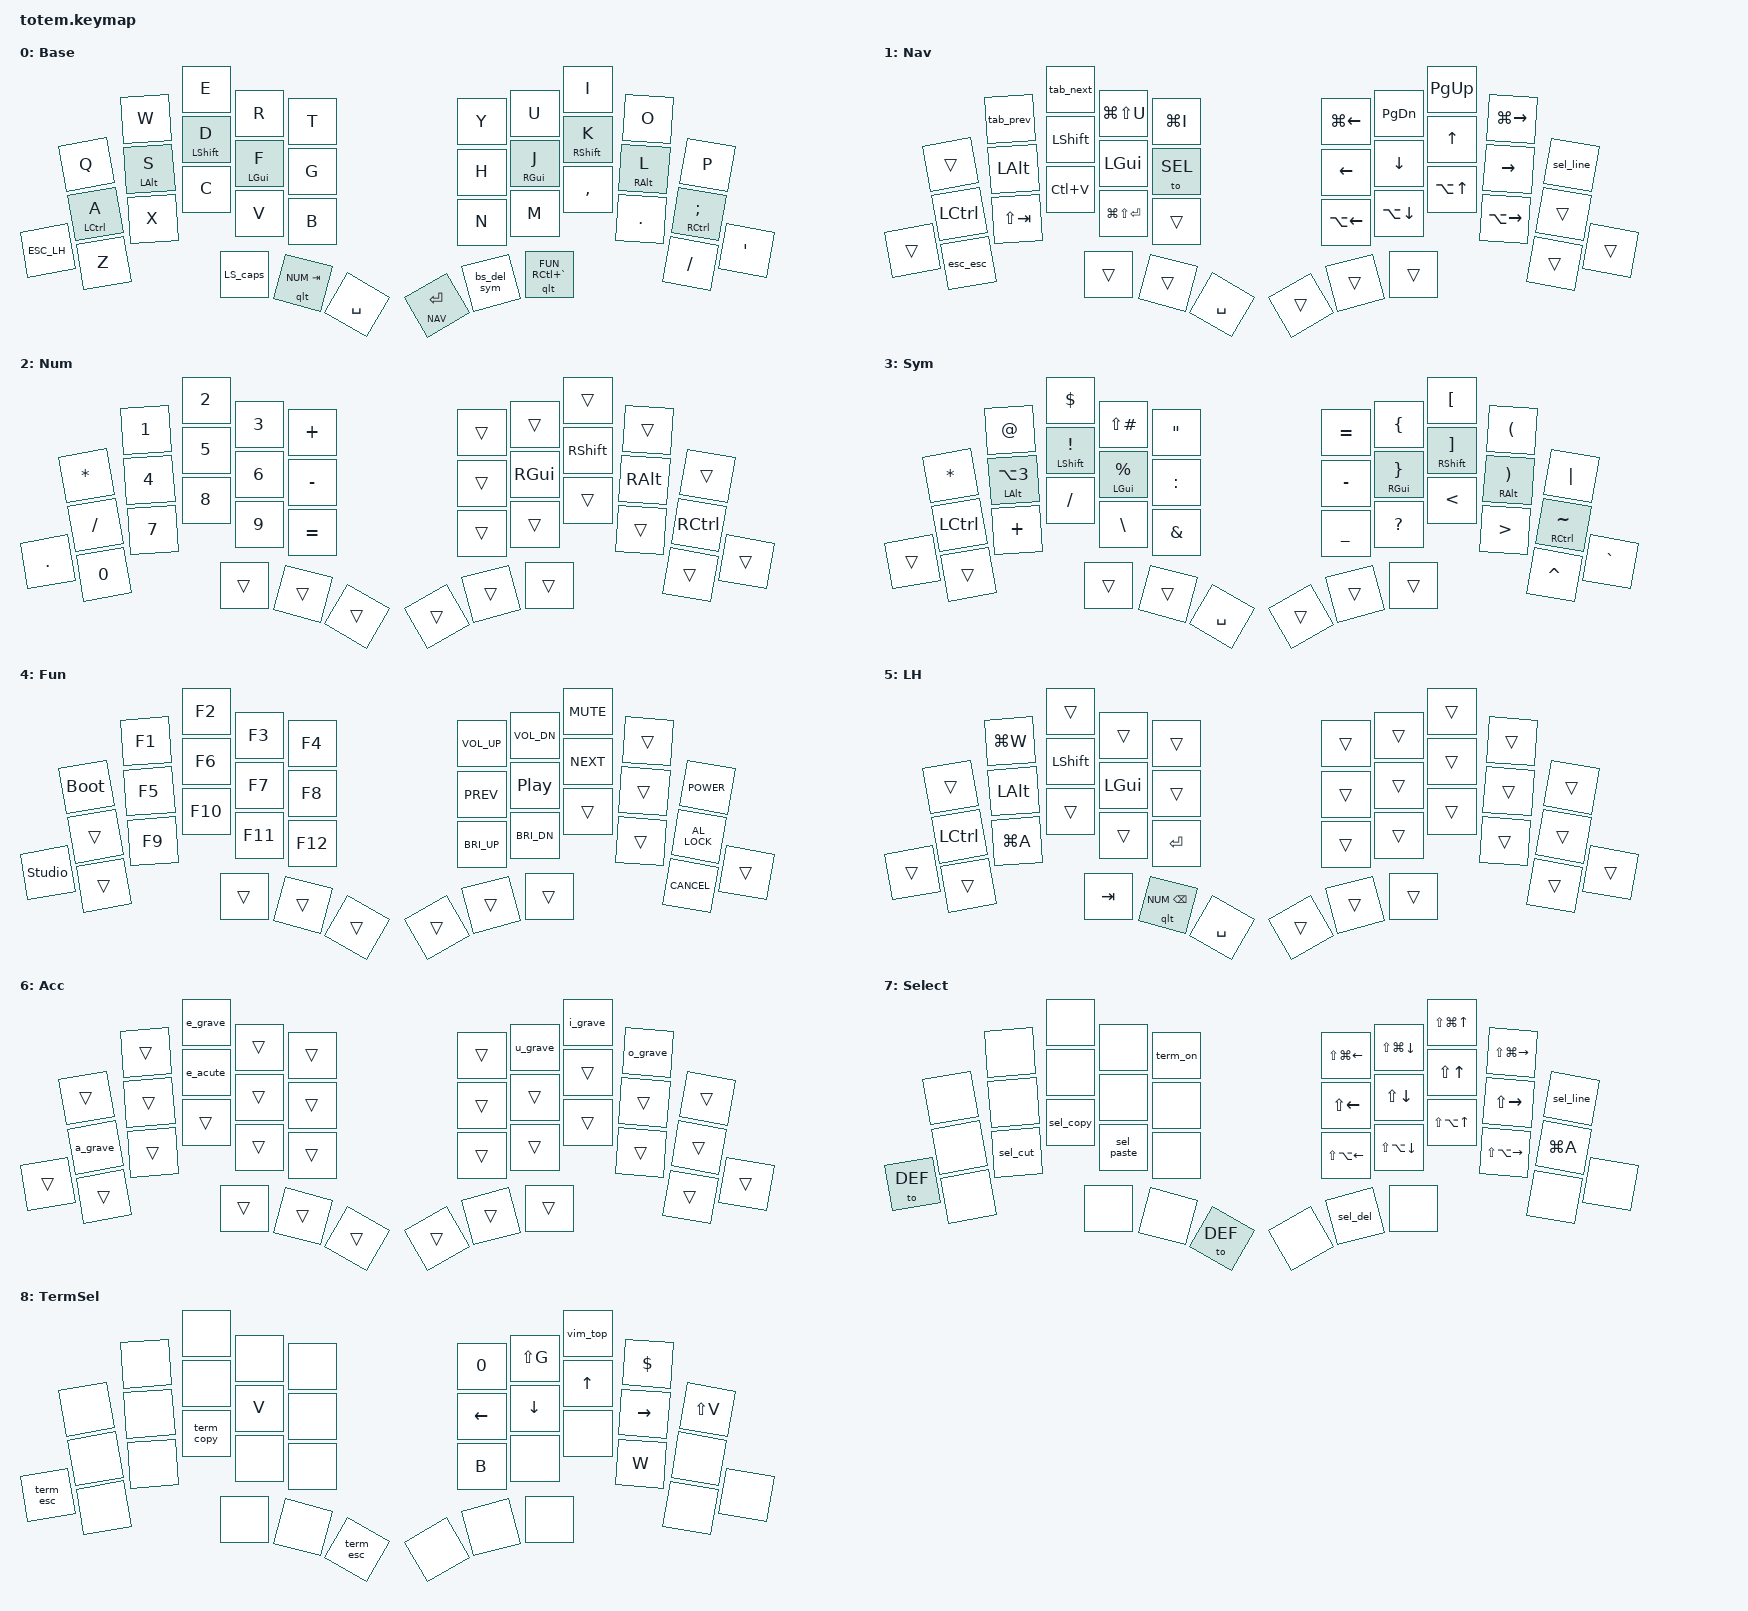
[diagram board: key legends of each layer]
//
//                                                        ▀▀▀▀▀     ▀▀▀▀▀          ▀▀█▀▀
//                                                        ▄▀▀▀▄  ▄  ▄▀▀▀▄  ▄  ▄▀▀▀▄  █  ▄▀▀▀▄
//                                                        █   █  █  █   █  █  █   █  █  █   █
//                                                         ▀▀▀   █   ▀▀▀   █   ▀▀▀   ▀   ▀▀▀
//                                                               █      ▄▄▄█▄▄▄    █   █
//                                                               ▀      █  █  █     █▄█
//                                                             ▀▀▀▀▀    █  █  █      ▀
//                                                                      ▀  ▀  ▀
//
// ▄▄▄▄▄▄▄▄▄▄▄▄▄▄▄▄▄▄▄▄▄▄▄▄▄▄▄▄▄▄▄▄▄▄▄▄▄▄▄▄▄▄▄▄▄▄▄▄▄▄▄▄▄▄▄▄▄▄▄▄▄▄▄▄▄▄▄▄▄▄▄▄▄▄▄▄▄▄▄▄▄▄▄▄▄▄▄▄▄▄▄▄▄▄▄▄▄▄▄▄▄▄▄▄▄▄▄▄▄▄▄▄▄▄▄▄▄▄▄▄▄▄▄▄▄▄▄▄▄▄▄▄▄▄▄▄▄▄▄▄▄▄▄▄▄▄▄▄▄



#define HOST_OS                    2
#define ZMK_HELPERS_KEEP_NATIVE    0

#include <behaviors.dtsi>
#include <behaviors/num_word.dtsi>
#include <dt-bindings/zmk/keys.h>
#include "zmk-helpers/helper.h"
#include "zmk-helpers/key-labels/totem.h"
// #include "zmk-helpers/unicode-chars/italian.dtsi"

#define ______ &trans
#define XXXXXX &none

#define DEF   0
#define NAV   1
#define NUM   2
#define SYM   3
#define FUN   4
#define LH    5
#define ACC   6
#define SEL   7
#define TSEL  8

/* Timing constants */

#define HOMEROW_TAP_MS    280
#define TDANCE_TAP_MS     200
#define QUICK_TAP_MS      175
#define PRIOR_IDLE_MS     150

/* Timeless homerow mods */
// https://github.com/urob/zmk-config/tree/main#timeless-homerow-mods

#define KEYS_L LT0 LT1 LT2 LT3 LT4 LM0 LM1 LM2 LM3 LM4 LB0 LB1 LB2 LB3 LB4 LB5  // left hand
#define KEYS_R RT0 RT1 RT2 RT3 RT4 RM0 RM1 RM2 RM3 RM4 RB0 RB1 RB2 RB3 RB4 RB5  // right hand
#define THUMBS LH0 LH1 LH2 RH0 RH1 RH2  // thumbs

ZMK_HOLD_TAP(hml,
    flavor = "balanced";
    tapping-term-ms = <HOMEROW_TAP_MS>;
    require-prior-idle-ms = <PRIOR_IDLE_MS>;
    hold-trigger-key-positions = <KEYS_R THUMBS>;
    hold-trigger-on-release;
    bindings = <&kp>, <&kp>;
)

ZMK_HOLD_TAP(hmr,
    flavor = "balanced";
    tapping-term-ms = <HOMEROW_TAP_MS>;
    require-prior-idle-ms = <PRIOR_IDLE_MS>;
    hold-trigger-key-positions = <KEYS_L THUMBS>;
    hold-trigger-on-release;
    bindings = <&kp>, < &kp >;
)

ZMK_HOLD_TAP(qlt,
    flavor = "balanced";
    tapping-term-ms = <175>;
    bindings = <&mo>, <&kp>;
    quick-tap-ms = <QUICK_TAP_MS>;
    display-name = "Quick Layer-Tap";
)

// tap: backspace | shift + tap: delete | hold: num layer
ZMK_MOD_MORPH(bs_del_sym,
    bindings = <&qlt SYM BSPC>, <&kp DEL>;
mods = <(MOD_LSFT | MOD_RSFT)>;
)

// tap: shift | double-tap: caps word
ZMK_TAP_DANCE(LS_caps,
    tapping-term-ms = <TDANCE_TAP_MS>;
    bindings = <&kp LSHIFT>, <&caps_word>;
)

// Accented vowels via macOS Option dead keys (Opt+` = grave, Opt+E = acute).
// Each key types the finished letter; with Shift held it types the capital.
#define ACCENT(name, dead, vowel) \
    ZMK_MACRO(name##_lo, wait-ms = <0>; tap-ms = <20>; bindings = <&kp dead>, <&kp vowel>;) \
    ZMK_MACRO(name##_up, wait-ms = <0>; tap-ms = <20>; bindings = <&kp dead>, <&kp LS(vowel)>;) \
    ZMK_MOD_MORPH(name, bindings = <&name##_lo>, <&name##_up>; mods = <(MOD_LSFT | MOD_RSFT)>;)

ACCENT(a_grave, LA(GRAVE), A)  // à À
ACCENT(e_grave, LA(GRAVE), E)  // è È
ACCENT(e_acute, LA(E),     E)  // é É
ACCENT(i_grave, LA(GRAVE), I)  // ì Ì
ACCENT(o_grave, LA(GRAVE), O)  // ò Ò
ACCENT(u_grave, LA(GRAVE), U)  // ù Ù

// Select layer actions: do the thing, then return to base
#define SEL_EXIT(name, key) \
    ZMK_MACRO(name, wait-ms = <0>; tap-ms = <20>; bindings = <&kp key>, <&to DEF>;)

SEL_EXIT(sel_copy,  LG(C))
SEL_EXIT(sel_cut,   LG(X))
SEL_EXIT(sel_paste, LG(V))
SEL_EXIT(sel_del,   BSPC)

// Terminal select: cmux copy mode (Vim keys) with the same layout as the Select layer
ZMK_MACRO(term_on,   wait-ms = <0>; tap-ms = <20>; bindings = <&kp LG(LS(M))>, <&to TSEL>;)
ZMK_MACRO(term_copy, wait-ms = <0>; tap-ms = <20>; bindings = <&kp Y>, <&to DEF>;)
ZMK_MACRO(term_esc,  wait-ms = <0>; tap-ms = <20>; bindings = <&kp ESC>, <&to DEF>;)
ZMK_MACRO(vim_top,   wait-ms = <0>; tap-ms = <20>; bindings = <&kp G>, <&kp G>;)

// Nav W/E: prev/next tab (Cmd+Shift+[ / ]) in cmux, browsers, VS Code, Finder.
// With Ctrl held (A on Nav): prev/next cmux workspace (Cmd+Ctrl+[ / ]).
ZMK_MOD_MORPH(tab_prev,
    bindings = <&kp LG(LS(LBKT))>, <&kp LG(LC(LBKT))>;
    mods = <(MOD_LCTL | MOD_RCTL)>;
)
ZMK_MOD_MORPH(tab_next,
    bindings = <&kp LG(LS(RBKT))>, <&kp LG(LC(RBKT))>;
    mods = <(MOD_LCTL | MOD_RCTL)>;
)

// Claude Code: double Esc (rewind). The Esc key's own double-tap toggles LH instead.
ZMK_MACRO(esc_esc,
    wait-ms = <30>;
    tap-ms = <20>;
    bindings = <&kp ESC>, <&kp ESC>;
)

// Tap: num-word | double-tap: sticky num-layer | Hold: num-layer.
#define SMART_NUM &smart_num NUM 0
ZMK_HOLD_TAP(smart_num, bindings = <&mo>, <&num_dance>; flavor = "balanced";
             tapping-term-ms = <TDANCE_TAP_MS>; quick-tap-ms = <QUICK_TAP_MS>;)
ZMK_TAP_DANCE(num_dance, bindings = <&num_word NUM>, <&sl NUM>;
              tapping-term-ms = <TDANCE_TAP_MS>;)

ZMK_COMBO(smart_num,  SMART_NUM,     RB0 RB1, NUM)  // smart_num, active on base
ZMK_COMBO(copy,       &kp LG(C),     LT0 LT1, ALL)  // copy, active on all layers
ZMK_COMBO(cut,        &kp LG(X),     LT2 LM2, ALL)  // cut, active on all layers
ZMK_COMBO(paste,      &kp LG(V),     LT1 LM1, ALL)  // paste, active on all layers
ZMK_COMBO(clipboard,  &kp LA(LG(C)), LT3 LM3, ALL)  // clipboard, active on all layers
ZMK_COMBO(spotlight,  &kp LG(SPACE), RM0 RM1, DEF)  // spotlight, active on base
ZMK_COMBO(vscode_cmd, &kp LS(LG(P)), LM0 LM1, DEF)  // vscode command palette, active on base
ZMK_COMBO(undo,       &kp LG(Z),     LT0 LM0, DEF LH)  // undo, active on base
ZMK_COMBO(redo,       &kp LG(LS(Z)), LB0 LM0, DEF LH)  // redo, active on base
ZMK_COMBO(undo_2,     &kp LG(Z),     RT0 RM0, DEF)  // undo, active on base
ZMK_COMBO(redo_2,     &kp LG(LS(Z)), RB0 RM0, DEF)  // redo, active on base
ZMK_COMBO(next_win,   &kp LG(GRAVE), LM1 LB1, DEF LH)  // next window, active on base
ZMK_COMBO(save,       &kp LG(S), LM3 LB3, DEF LH)  // save, active on base
ZMK_COMBO(screenshot, &kp LS(LG(N4)), LM2 LB2, DEF LH)  // area screenshot (Shottr owns Cmd+Shift+4)

// tap J+M, then a vowel: à è ì ò ù, and D (under E) for é
ZMK_COMBO(accents,    &sl ACC,   RB1 RM1, DEF)

ZMK_TAP_DANCE(ESC_LH,
    tapping-term-ms = <TDANCE_TAP_MS>;
    bindings = <&kp ESC>, <&tog LH>;
)

// select current line: jump to line start, then shift-select to line end
ZMK_MACRO(sel_line,
    wait-ms = <0>;
    tap-ms = <20>;
    bindings = <&kp LG(LEFT)>, <&kp LS(LG(RIGHT))>;
)

&num_word {
  continue-list = <BACKSPACE DELETE DOT COMMA PLUS MINUS STAR FSLH EQUAL SPACE LT GT DLLR COLON>;
};


/ {
    keymap {
        compatible = "zmk,keymap";

        base_layer {
            display-name = "Base";
            bindings = <
         &kp Q         &kp W        &kp E         &kp R         &kp T              &kp Y          &kp U        &kp I              &kp O        &kp P
         &hml LCTRL A  &hml LALT S  &hml LSHFT D  &hml LGUI F   &kp G              &kp H          &hmr RGUI J  &hmr RSHFT K       &hmr RALT L  &hmr RCTRL SEMI
&ESC_LH  &kp Z         &kp X        &kp C         &kp V         &kp B              &kp N          &kp M        &kp COMMA          &kp DOT      &kp SLASH        &kp APOS
                                    &LS_caps      &qlt NUM TAB  &kp SPACE          &lt NAV ENTER  &bs_del_sym  &qlt FUN RC(GRAVE)
            >;
        };

        nav_layer {
            display-name = "Nav";
            bindings = <
        // left hand = cmux / Claude Code
        //   W/E prev/next tab (+Ctrl: cmux workspace)   R jump to unread   T notifications
        //   Z Esc Esc   X Shift+Tab (Claude mode)   C Ctrl+V (paste image)   V zoom pane
        //   G Select layer (Nav with Shift locked on)
        ______     &tab_prev         &tab_next         &kp LG(LS(U))   &kp LG(I)          &kp LG(LEFT)  &kp PG_DN     &kp PG_UP   &kp LG(RIGHT)  &sel_line
        &kp LCTRL  &kp LALT          &kp LSHFT         &kp LGUI        &to SEL            &kp LEFT      &kp DOWN      &kp UP      &kp RIGHT      ______
______  &esc_esc   &kp LS(TAB)       &kp LC(V)         &kp LG(LS(RET)) ______             &kp LA(LEFT)  &kp LA(DOWN)  &kp LA(UP)  &kp LA(RIGHT)  ______  ______
                             ______     ______      &kp SPACE     ______        ______        ______
            >;
        };

        num_layer {
            display-name = "Num";
            bindings = <
         &kp STAR  &kp N1  &kp N2  &kp N3   &kp PLUS       ______  ______    ______     ______    ______
         &kp FSLH  &kp N4  &kp N5  &kp N6   &kp MINUS      ______  &kp RGUI  &kp RSHFT  &kp RALT  &kp RCTRL
&kp DOT  &kp N0    &kp N7  &kp N8  &kp N9   &kp EQUAL      ______  ______    ______     ______    ______     ______
                               ______  ______  ______      ______  ______    ______
            >;
        };

        sym_layer {
            display-name = "Sym";
            bindings = <
        &kp STAR   &kp  AT           &kp DLLR         &kp LS(POUND)    &kp DQT           &kp EQUAL  &kp LBRC        &kp LBKT         &kp LPAR        &kp PIPE
        &kp LCTRL  &hml LALT LA(N3)  &hml LSHFT EXCL  &hml LGUI PRCNT  &kp COLON         &kp MINUS  &hmr RGUI RBRC  &hmr RSHFT RBKT  &hmr RALT RPAR  &hmr RCTRL TILDE
______  ______     &kp  PLUS         &kp FSLH         &kp BSLH         &kp AMPS          &kp UNDER  &kp QMARK       &kp LT           &kp GT          &kp CARET         &kp GRAVE
                                     ______           ______           &kp SPACE         ______     ______          ______
            >;
        };

        fun_layer {
            display-name = "Fun";
            bindings = <
                &bootloader  &kp F1  &kp F2   &kp F3   &kp F4       &kp C_VOL_UP  &kp C_VOL_DN  &kp C_MUTE  ______  &kp C_POWER
                ______       &kp F5  &kp F6   &kp F7   &kp F8       &kp C_PREV    &kp C_PP      &kp C_NEXT  ______  &kp C_AL_LOCK
&studio_unlock  ______       &kp F9  &kp F10  &kp F11  &kp F12      &kp C_BRI_UP  &kp C_BRI_DN  ______      ______  &kp K_CANCEL   ______
                                     ______   ______   ______       ______        ______        ______
            >;
        };

        lh_layer {
            display-name = "LH";
            bindings = <
        ______     &kp LG(W) ______     ______         ______         ______  ______  ______  ______  ______
        &kp LCTRL  &kp LALT &kp LSHFT  &kp LGUI       ______         ______  ______  ______  ______  ______
______  ______   &kp LG(A)  ______    ______          &kp ENTER         ______  ______  ______  ______  ______  ______
                             &kp TAB   &qlt NUM BSPC  &kp SPACE      ______  ______  ______
            >;
        };

        acc_layer {
            display-name = "Acc";
            bindings = <
        ______    ______  &e_grave  ______  ______        ______  &u_grave  &i_grave  &o_grave  ______
        &a_grave  ______  &e_acute  ______  ______        ______  ______    ______    ______    ______
______  ______    ______  ______    ______  ______        ______  ______    ______    ______    ______  ______
                          ______    ______  ______        ______  ______    ______
            >;
        };

        // Nav with Shift locked on, entered from Nav G. Same positions as Nav, but every move selects.
        // C copy, X cut, V paste over, Backspace delete: each does it and returns to base.
        // Esc or Space just returns to base. Other keys do nothing, so you can't type by accident.
        // T switches to Terminal select (cmux copy mode).
        select_layer {
            display-name = "Select";
            bindings = <
            XXXXXX  XXXXXX    XXXXXX     XXXXXX     &term_on      &kp LS(LG(LEFT))  &kp LS(LG(DOWN))  &kp LS(LG(UP))  &kp LS(LG(RIGHT))  &sel_line
            XXXXXX  XXXXXX    XXXXXX     XXXXXX     XXXXXX        &kp LS(LEFT)      &kp LS(DOWN)      &kp LS(UP)      &kp LS(RIGHT)      &kp LG(A)
&to DEF     XXXXXX  &sel_cut  &sel_copy  &sel_paste  XXXXXX        &kp LS(LA(LEFT))  &kp LS(LA(DOWN))  &kp LS(LA(UP))  &kp LS(LA(RIGHT))  XXXXXX  XXXXXX
                              XXXXXX     XXXXXX     &to DEF       XXXXXX            &sel_del          XXXXXX
            >;
        };

        // Terminal select: cmux copy mode, same positions as Select. Move to the start, F starts/stops
        // selecting, C copies and returns to base, Esc or Space cancels.
        term_select_layer {
            display-name = "TermSel";
            bindings = <
            XXXXXX  XXXXXX  XXXXXX      XXXXXX  XXXXXX        &kp N0    &kp LS(G)  &vim_top  &kp DLLR   &kp LS(V)
            XXXXXX  XXXXXX  XXXXXX      &kp V   XXXXXX        &kp LEFT  &kp DOWN   &kp UP    &kp RIGHT  XXXXXX
&term_esc   XXXXXX  XXXXXX  &term_copy  XXXXXX  XXXXXX        &kp B     XXXXXX     XXXXXX    &kp W      XXXXXX  XXXXXX
                            XXXXXX      XXXXXX  &term_esc     XXXXXX    XXXXXX     XXXXXX
            >;
        };
    };
};
